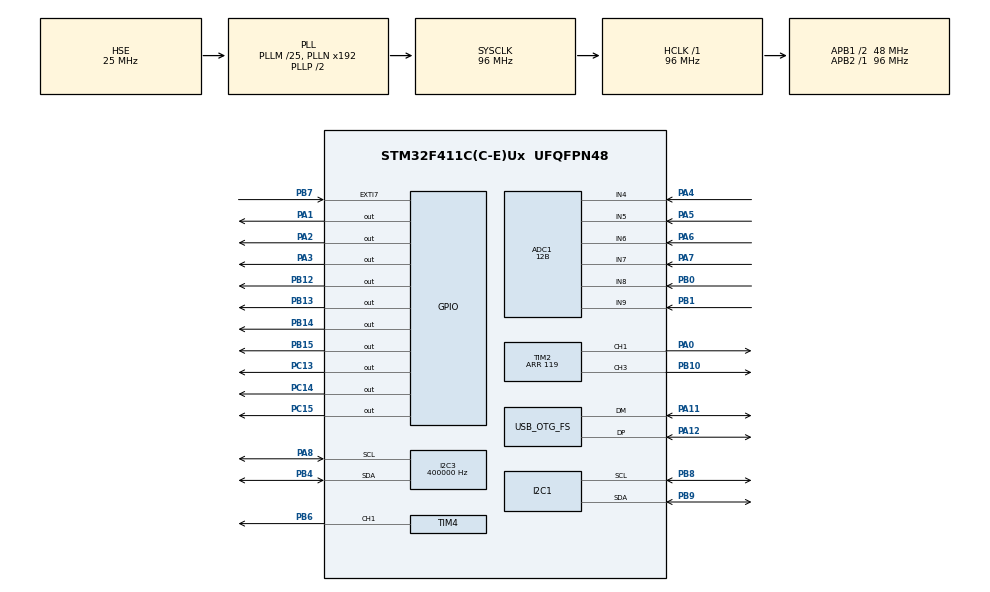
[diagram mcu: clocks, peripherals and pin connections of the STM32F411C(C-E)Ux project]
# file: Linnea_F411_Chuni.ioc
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ADC1.Channel-0\#ChannelRegularConversion=ADC_CHANNEL_5
ADC1.Channel-13\#ChannelRegularConversion=ADC_CHANNEL_6
ADC1.Channel-14\#ChannelRegularConversion=ADC_CHANNEL_7
ADC1.Channel-15\#ChannelRegularConversion=ADC_CHANNEL_8
ADC1.Channel-16\#ChannelRegularConversion=ADC_CHANNEL_9
ADC1.Channel-17\#ChannelRegularConversion=ADC_CHANNEL_4
ADC1.ContinuousConvMode=DISABLE
ADC1.DiscontinuousConvMode=ENABLE
ADC1.InjNumberOfConversion=0
ADC1.NbrOfConversion=6
ADC1.NbrOfConversionFlag=1
ADC1.NbrOfDiscConversion=1
ADC1.Rank-0\#ChannelRegularConversion=1
ADC1.Rank-13\#ChannelRegularConversion=2
ADC1.Rank-14\#ChannelRegularConversion=3
ADC1.Rank-15\#ChannelRegularConversion=4
ADC1.Rank-16\#ChannelRegularConversion=5
ADC1.Rank-17\#ChannelRegularConversion=6
ADC1.Resolution=ADC_RESOLUTION_12B
ADC1.SamplingTime-0\#ChannelRegularConversion=ADC_SAMPLETIME_56CYCLES
ADC1.SamplingTime-13\#ChannelRegularConversion=ADC_SAMPLETIME_56CYCLES
ADC1.SamplingTime-14\#ChannelRegularConversion=ADC_SAMPLETIME_56CYCLES
ADC1.SamplingTime-15\#ChannelRegularConversion=ADC_SAMPLETIME_56CYCLES
ADC1.SamplingTime-16\#ChannelRegularConversion=ADC_SAMPLETIME_56CYCLES
ADC1.SamplingTime-17\#ChannelRegularConversion=ADC_SAMPLETIME_56CYCLES
ADC1.ScanConvMode=ENABLE
ADC1.master=1
AL94.I-CUBE-USBD-COMPOSITE.1.0.3.CompositeCcUSBJjCOMPOSITEJjCDCIiACM=true
AL94.I-CUBE-USBD-COMPOSITE.1.0.3.CompositeCcUSBJjCOMPOSITEJjCOMPOSITE=true
AL94.I-CUBE-USBD-COMPOSITE.1.0.3.CompositeCcUSBJjCOMPOSITEJjCore=true
AL94.I-CUBE-USBD-COMPOSITE.1.0.3.CompositeCcUSBJjCOMPOSITEJjHIDIiKEYBOARD=true
AL94.I-CUBE-USBD-COMPOSITE.1.0.3._USBD_CDC_ACM_COUNT=1
AL94.I-CUBE-USBD-COMPOSITE.1.0.3._USBD_USE_CDC_ACM=true
AL94.I-CUBE-USBD-COMPOSITE.1.0.3._USBD_USE_HID_KEYBOARD=true
AL94.I-CUBE-USBD-COMPOSITE.1.0.3._USBD_USE_HID_MOUSE=false
Dma.I2C1_RX.2.Direction=DMA_PERIPH_TO_MEMORY
Dma.I2C1_RX.2.FIFOMode=DMA_FIFOMODE_DISABLE
Dma.I2C1_RX.2.Instance=DMA1_Stream0
Dma.I2C1_RX.2.MemDataAlignment=DMA_MDATAALIGN_BYTE
Dma.I2C1_RX.2.MemInc=DMA_MINC_ENABLE
Dma.I2C1_RX.2.Mode=DMA_CIRCULAR
Dma.I2C1_RX.2.PeriphDataAlignment=DMA_PDATAALIGN_BYTE
Dma.I2C1_RX.2.PeriphInc=DMA_PINC_DISABLE
Dma.I2C1_RX.2.Priority=DMA_PRIORITY_VERY_HIGH
Dma.I2C3_RX.3.Direction=DMA_PERIPH_TO_MEMORY
Dma.I2C3_RX.3.FIFOMode=DMA_FIFOMODE_DISABLE
Dma.I2C3_RX.3.Instance=DMA1_Stream2
Dma.I2C3_RX.3.MemDataAlignment=DMA_MDATAALIGN_BYTE
Dma.I2C3_RX.3.MemInc=DMA_MINC_ENABLE
Dma.I2C3_RX.3.Mode=DMA_CIRCULAR
Dma.I2C3_RX.3.PeriphDataAlignment=DMA_PDATAALIGN_BYTE
Dma.I2C3_RX.3.PeriphInc=DMA_PINC_DISABLE
Dma.I2C3_RX.3.Priority=DMA_PRIORITY_VERY_HIGH
Dma.MEMTOMEM.0.Direction=DMA_MEMORY_TO_MEMORY
Dma.MEMTOMEM.0.FIFOMode=DMA_FIFOMODE_ENABLE
Dma.MEMTOMEM.0.FIFOThreshold=DMA_FIFO_THRESHOLD_FULL
Dma.MEMTOMEM.0.Instance=DMA2_Stream0
Dma.MEMTOMEM.0.MemBurst=DMA_MBURST_SINGLE
Dma.MEMTOMEM.0.MemDataAlignment=DMA_MDATAALIGN_BYTE
Dma.MEMTOMEM.0.MemInc=DMA_MINC_ENABLE
Dma.MEMTOMEM.0.Mode=DMA_NORMAL
Dma.MEMTOMEM.0.PeriphBurst=DMA_PBURST_SINGLE
Dma.MEMTOMEM.0.PeriphDataAlignment=DMA_PDATAALIGN_BYTE
Dma.MEMTOMEM.0.PeriphInc=DMA_PINC_ENABLE
Dma.MEMTOMEM.0.Priority=DMA_PRIORITY_LOW
Dma.Request0=MEMTOMEM
Dma.Request1=TIM2_CH3/UP
Dma.Request2=I2C1_RX
Dma.Request3=I2C3_RX
Dma.Request4=TIM2_CH1
Dma.TIM2_CH1.4.Direction=DMA_MEMORY_TO_PERIPH
Dma.TIM2_CH1.4.FIFOMode=DMA_FIFOMODE_DISABLE
Dma.TIM2_CH1.4.Instance=DMA1_Stream5
Dma.TIM2_CH1.4.MemDataAlignment=DMA_MDATAALIGN_WORD
Dma.TIM2_CH1.4.MemInc=DMA_MINC_ENABLE
Dma.TIM2_CH1.4.Mode=DMA_NORMAL
Dma.TIM2_CH1.4.PeriphDataAlignment=DMA_PDATAALIGN_WORD
Dma.TIM2_CH1.4.PeriphInc=DMA_PINC_DISABLE
Dma.TIM2_CH1.4.Priority=DMA_PRIORITY_LOW
Dma.TIM2_CH3/UP.1.Direction=DMA_MEMORY_TO_PERIPH
Dma.TIM2_CH3/UP.1.FIFOMode=DMA_FIFOMODE_DISABLE
Dma.TIM2_CH3/UP.1.Instance=DMA1_Stream1
Dma.TIM2_CH3/UP.1.MemDataAlignment=DMA_MDATAALIGN_WORD
Dma.TIM2_CH3/UP.1.MemInc=DMA_MINC_ENABLE
Dma.TIM2_CH3/UP.1.Mode=DMA_NORMAL
Dma.TIM2_CH3/UP.1.PeriphDataAlignment=DMA_PDATAALIGN_WORD
Dma.TIM2_CH3/UP.1.PeriphInc=DMA_PINC_DISABLE
Dma.TIM2_CH3/UP.1.Priority=DMA_PRIORITY_LOW
FREERTOS.Tasks01=defaultTask,24,128,StartDefaultTask,Default,NULL,Dynamic,NULL,NULL;Task02,8,128,StartTask02,Default,NULL,Dynamic,NULL,NULL;Task03,8,128,StartTask03,Default,NULL,Dynamic,NULL,NULL;Task04,8,128,StartTask04,Default,NULL,Dynamic,NULL,NULL
FREERTOS.configGENERATE_RUN_TIME_STATS=0
FREERTOS.configTOTAL_HEAP_SIZE=15360
FREERTOS.configUSE_STATS_FORMATTING_FUNCTIONS=0
I2C1.I2C_Mode=I2C_Fast
I2C3.ClockSpeed=400000
I2C3.I2C_Mode=I2C_Fast
Mcu.Family=STM32F4
Mcu.Name=STM32F411C(C-E)Ux
Mcu.Package=UFQFPN48
NVIC.DMA1_Stream0_IRQn=true\:5\:0\:false\:false\:true\:true\:false\:true\:true
NVIC.DMA1_Stream1_IRQn=true\:5\:0\:false\:false\:true\:true\:false\:true\:true
NVIC.DMA1_Stream2_IRQn=true\:5\:0\:false\:false\:true\:true\:false\:true\:true
NVIC.DMA1_Stream5_IRQn=true\:5\:0\:false\:false\:true\:true\:false\:true\:true
NVIC.EXTI9_5_IRQn=true\:5\:0\:false\:false\:true\:true\:true\:true\:true
NVIC.I2C1_ER_IRQn=true\:5\:0\:false\:false\:true\:true\:true\:true\:true
NVIC.I2C1_EV_IRQn=true\:5\:0\:false\:false\:true\:true\:true\:true\:true
NVIC.I2C3_ER_IRQn=true\:5\:0\:false\:false\:true\:true\:true\:true\:true
NVIC.I2C3_EV_IRQn=true\:5\:0\:false\:false\:true\:true\:true\:true\:true
NVIC.OTG_FS_IRQn=true\:5\:0\:false\:false\:true\:true\:true\:true\:true
NVIC.PriorityGroup=NVIC_PRIORITYGROUP_4
NVIC.TIM1_UP_TIM10_IRQn=true\:15\:0\:false\:false\:true\:false\:false\:true\:true
NVIC.TimeBase=TIM1_UP_TIM10_IRQn
NVIC.TimeBaseIP=TIM1
PA0-WKUP.Signal=S_TIM2_CH1_ETR
PA1.Signal=GPIO_Output
PA11.Mode=Device_Only
PA11.Signal=USB_OTG_FS_DM
PA12.Mode=Device_Only
PA12.Signal=USB_OTG_FS_DP
PA2.Signal=GPIO_Output
PA3.Signal=GPIO_Output
PA4.Signal=ADCx_IN4
PA5.Signal=ADCx_IN5
PA6.Signal=ADCx_IN6
PA7.Signal=ADCx_IN7
PA8.GPIO_Pu=GPIO_PULLUP
PA8.Mode=I2C
PA8.Signal=I2C3_SCL
PB0.Signal=ADCx_IN8
PB1.Signal=ADCx_IN9
PB10.Signal=S_TIM2_CH3
PB12.Signal=GPIO_Output
PB13.Signal=GPIO_Output
PB14.Signal=GPIO_Output
PB15.Signal=GPIO_Output
PB4.GPIO_Pu=GPIO_PULLUP
PB4.Mode=I2C
PB4.Signal=I2C3_SDA
PB6.Signal=S_TIM4_CH1
PB7.GPIO_ModeDefaultEXTI=GPIO_MODE_IT_FALLING
PB7.GPIO_PuPd=GPIO_PULLUP
PB7.Signal=GPXTI7
PB8.GPIO_Pu=GPIO_PULLUP
PB8.Mode=I2C
PB8.Signal=I2C1_SCL
PB9.GPIO_Pu=GPIO_PULLUP
PB9.Mode=I2C
PB9.Signal=I2C1_SDA
PC13-ANTI_TAMP.GPIO_PuPd=GPIO_PULLUP
PC13-ANTI_TAMP.Signal=GPIO_Output
PC14-OSC32_IN.GPIO_ModeDefaultOutputPP=GPIO_MODE_OUTPUT_PP
PC14-OSC32_IN.GPIO_PuPd=GPIO_PULLUP
PC14-OSC32_IN.Signal=GPIO_Output
PC15-OSC32_OUT.GPIO_PuPd=GPIO_PULLUP
PC15-OSC32_OUT.Signal=GPIO_Output
PH0\ -\ OSC_IN.Mode=HSE-External-Oscillator
PH0\ -\ OSC_IN.Signal=RCC_OSC_IN
PH1\ -\ OSC_OUT.Mode=HSE-External-Oscillator
PH1\ -\ OSC_OUT.Signal=RCC_OSC_OUT
ProjectManager.HeapSize=0x2000
ProjectManager.StackSize=0x40000
ProjectManager.TargetToolchain=STM32CubeIDE
RCC.48MHZClocksFreq_Value=48000000
RCC.AHBFreq_Value=96000000
RCC.APB1CLKDivider=RCC_HCLK_DIV2
RCC.APB1Freq_Value=48000000
RCC.APB1TimFreq_Value=96000000
RCC.APB2Freq_Value=96000000
RCC.APB2TimFreq_Value=96000000
RCC.CortexFreq_Value=96000000
RCC.HCLKFreq_Value=96000000
RCC.HSE_VALUE=25000000
RCC.HSI_VALUE=16000000
RCC.LSE_VALUE=32768
RCC.PLLM=25
RCC.SYSCLKFreq_VALUE=96000000
RCC.SYSCLKSource=RCC_SYSCLKSOURCE_PLLCLK
RCC.VCOOutputFreq_Value=192000000
SH.ADCx_IN4.0=ADC1_IN4,IN4
SH.ADCx_IN5.0=ADC1_IN5,IN5
SH.ADCx_IN6.0=ADC1_IN6,IN6
SH.ADCx_IN7.0=ADC1_IN7,IN7
SH.ADCx_IN8.0=ADC1_IN8,IN8
SH.ADCx_IN9.0=ADC1_IN9,IN9
SH.S_TIM2_CH1_ETR.0=TIM2_CH1,PWM Generation1 CH1
SH.S_TIM2_CH3.0=TIM2_CH3,PWM Generation3 CH3
SH.S_TIM4_CH1.0=TIM4_CH1,PWM Generation1 CH1
TIM2.Channel-PWM\ Generation1\ CH1=TIM_CHANNEL_1
TIM2.Channel-PWM\ Generation3\ CH3=TIM_CHANNEL_3
TIM2.Period=119
TIM4.Channel-PWM\ Generation1\ CH1=TIM_CHANNEL_1
TIM4.Prescaler=95
USB_OTG_FS.VirtualMode=Device_Only
VP_AL94.I-CUBE-USBD-COMPOSITE_VS_USBJjComposite_1.0.0_1.0.3.Mode=USBJjComposite
VP_FREERTOS_VS_CMSIS_V2.Mode=CMSIS_V2
VP_SYS_VS_tim1.Mode=TIM1
board=custom

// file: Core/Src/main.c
/* USER CODE BEGIN Header */
/**
  ******************************************************************************
  * @file           : main.c
  * @brief          : Main program body
  ******************************************************************************
  * @attention
  *
  * Copyright (c) 2023 STMicroelectronics.
  * All rights reserved.
  *
  * This software is licensed under terms that can be found in the LICENSE file
  * in the root directory of this software component.
  * If no LICENSE file comes with this software, it is provided AS-IS.
  *
  ******************************************************************************
  */
/* USER CODE END Header */
#include "main.h"
#include "cmsis_os.h"
#include "adc.h"
#include "dma.h"
#include "i2c.h"
#include "tim.h"
#include "usb_otg.h"
#include "gpio.h"

/* USER CODE BEGIN Includes */
#include "usbd_cdc_acm_if.h"
/* USER CODE END Includes */

void SystemClock_Config(void);
void MX_FREERTOS_Init(void);
/* USER CODE BEGIN PFP */
//void HAL_GPIO_EXTI_Callback(uint16_t GPIO_Pin)
//{
//	if (GPIO_Pin == GPIO_PIN_7)
//	{
//		if (HAL_I2C_Master_Receive(&hi2c1, 0xCA,touchdata1,2,100) == HAL_OK)
		//(HAL_I2C_Master_Transmit(&hi2c1,0x5B,1,1,100) == HAL_OK)
//		{
//			//usb_buffer[0] = touchdata1[0];
//			usb_buffer[0] = 1;

//		}
//		else
//		{
//			usb_buffer[0] = 2;
//		}
//		__HAL_GPIO_EXTI_CLEAR_IT(GPIO_PIN_7);
//	}
//	else if (GPIO_Pin == GPIO_PIN_15)
//	{
//		if (HAL_I2C_Master_Receive(&hi2c3, 0xCA,touchdata2,2,100) == HAL_OK)
//		{
//			//usb_buffer[0] = touchdata1[0];
//			usb_buffer[1] = 1;

//		}
//		else
//		{
//			usb_buffer[1] = 2;
//		}
//		__HAL_GPIO_EXTI_CLEAR_IT(GPIO_PIN_15);
//	}
//}
/* USER CODE END PFP */

int main(void)
{

  /* MCU Configuration--------------------------------------------------------*/

  /* Reset of all peripherals, Initializes the Flash interface and the Systick. */
  HAL_Init();

  /* Configure the system clock */
  SystemClock_Config();

  /* USER CODE BEGIN SysInit */
 __HAL_RCC_LSE_CONFIG(RCC_LSE_OFF);
  /* USER CODE END SysInit */

  /* Initialize all configured peripherals */
  MX_GPIO_Init();
  MX_DMA_Init();
  MX_I2C1_Init();
  MX_I2C3_Init();
  MX_USB_OTG_FS_PCD_Init();
  MX_ADC1_Init();
  MX_TIM2_Init();
  MX_TIM4_Init();
  /* USER CODE BEGIN 2 */
  MX_USB_DEVICE_Init();
  //HAL_ADCEx_Calibration_Start(&hadc1);
  //HAL_GPIO_WritePin(GPIOC,GPIO_PIN_13,1);
  //HAL_TIM_Base_Start_IT(&htim5);
  /* USER CODE END 2 */

  /* Init scheduler */
  osKernelInitialize();  /* Call init function for freertos objects (in freertos.c) */
  MX_FREERTOS_Init();

  /* Start scheduler */
  osKernelStart();
  /* We should never get here as control is now taken by the scheduler */
  /* Infinite loop */
  while (1)
  {

  }
}

void SystemClock_Config(void)
{
  RCC_OscInitTypeDef RCC_OscInitStruct = {0};
  RCC_ClkInitTypeDef RCC_ClkInitStruct = {0};

  /** Configure the main internal regulator output voltage
  */
  __HAL_RCC_PWR_CLK_ENABLE();
  __HAL_PWR_VOLTAGESCALING_CONFIG(PWR_REGULATOR_VOLTAGE_SCALE1);

  /** Initializes the RCC Oscillators according to the specified parameters
  * in the RCC_OscInitTypeDef structure.
  */
  RCC_OscInitStruct.OscillatorType = RCC_OSCILLATORTYPE_HSE;
  RCC_OscInitStruct.HSEState = RCC_HSE_ON;
  RCC_OscInitStruct.PLL.PLLState = RCC_PLL_ON;
  RCC_OscInitStruct.PLL.PLLSource = RCC_PLLSOURCE_HSE;
  RCC_OscInitStruct.PLL.PLLM = 25;
  RCC_OscInitStruct.PLL.PLLN = 192;
  RCC_OscInitStruct.PLL.PLLP = RCC_PLLP_DIV2;
  RCC_OscInitStruct.PLL.PLLQ = 4;
  if (HAL_RCC_OscConfig(&RCC_OscInitStruct) != HAL_OK)
  {
    Error_Handler();
  }

  /** Initializes the CPU, AHB and APB buses clocks
  */
  RCC_ClkInitStruct.ClockType = RCC_CLOCKTYPE_HCLK|RCC_CLOCKTYPE_SYSCLK
                              |RCC_CLOCKTYPE_PCLK1|RCC_CLOCKTYPE_PCLK2;
  RCC_ClkInitStruct.SYSCLKSource = RCC_SYSCLKSOURCE_PLLCLK;
  RCC_ClkInitStruct.AHBCLKDivider = RCC_SYSCLK_DIV1;
  RCC_ClkInitStruct.APB1CLKDivider = RCC_HCLK_DIV2;
  RCC_ClkInitStruct.APB2CLKDivider = RCC_HCLK_DIV1;

  if (HAL_RCC_ClockConfig(&RCC_ClkInitStruct, FLASH_LATENCY_3) != HAL_OK)
  {
    Error_Handler();
  }
}

void HAL_TIM_PeriodElapsedCallback(TIM_HandleTypeDef *htim)
{
  if (htim->Instance == TIM1) {
    HAL_IncTick();
  }
}

void Error_Handler(void)
{
  __disable_irq();
  while (1)
  {
  }
}

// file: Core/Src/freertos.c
/* USER CODE BEGIN Header */
/**
  ******************************************************************************
  * File Name          : freertos.c
  * Description        : Code for freertos applications
  ******************************************************************************
  * @attention
  *
  * Copyright (c) 2023 STMicroelectronics.
  * All rights reserved.
  *
  * This software is licensed under terms that can be found in the LICENSE file
  * in the root directory of this software component.
  * If no LICENSE file comes with this software, it is provided AS-IS.
  *
  ******************************************************************************
  */
/* USER CODE END Header */

#include "FreeRTOS.h"
#include "task.h"
#include "main.h"
#include "cmsis_os.h"

/* USER CODE BEGIN Includes */
#include "adc.h"
#include "usb_otg.h"
#include "usb_device.h"
#include "cy8cmbr3116.h"
#include "serial.h"
#include "slider.h"
#include "dma.h"
#include "tim.h"
#include "LED.h"
#include "usbd_cdc_acm_if.h"
#include "usbd_hid_keyboard.h"
/* USER CODE END Includes */

/* USER CODE BEGIN Variables */
	//volatile unsigned long  ulHighFrequencyTimerTicks = 0ul;
	extern USBD_HandleTypeDef hUsbDevice;
	uint8_t rxData[255] = {0} ;
	uint32_t rxLen  = 0 ;
	uint8_t rxData2[254];
	uint32_t rxLen2;
	uint8_t Air_key_buffer = 0;
	uint8_t Air_scan_flag = 0;
	uint8_t Air_CMD[5] = {0xff,0x05,0x01,0x00,0x00};
	uint16_t led_count = 65535;
	//LED状�?�计数，每个刷灯周期-1
	uint8_t system_status = 0;
	//system_status:
	//0:ground-keyboard air-none
	//1:ground-usbcdc air-keyboard
	//2:ground-usbcdc air-usbcdc
	uint8_t slider_status = 0;
	//0:游戏�?
	//1:游戏�?
	uint8_t groundslider_keycode[32] = {4,5,6,7,8,9,10,11,12,13,14,15,16,17,18,19,20,21,22,23,24,25,26,27,28,29,30,31,32,33,34,35};
	uint8_t ir_keycode[6] = {56,55,49,51,48,47};
	uint8_t key_buffer[42] = {0};
/* USER CODE END Variables */
/* Definitions for defaultTask */
osThreadId_t defaultTaskHandle;
const osThreadAttr_t defaultTask_attributes = {
  .name = "defaultTask",
  .stack_size = 128 * 4,
  .priority = (osPriority_t) osPriorityNormal,
};
/* Definitions for Task02 */
osThreadId_t Task02Handle;
const osThreadAttr_t Task02_attributes = {
  .name = "Task02",
  .stack_size = 128 * 4,
  .priority = (osPriority_t) osPriorityLow,
};
/* Definitions for Task03 */
osThreadId_t Task03Handle;
const osThreadAttr_t Task03_attributes = {
  .name = "Task03",
  .stack_size = 128 * 4,
  .priority = (osPriority_t) osPriorityLow,
};
/* Definitions for Task04 */
osThreadId_t Task04Handle;
const osThreadAttr_t Task04_attributes = {
  .name = "Task04",
  .stack_size = 128 * 4,
  .priority = (osPriority_t) osPriorityLow,
};

/* USER CODE BEGIN FunctionPrototypes */
void  delay_us(uint16_t us)
{
	__HAL_TIM_SetCounter(&htim4,0);
	__HAL_TIM_ENABLE(&htim4);

	while(__HAL_TIM_GetCounter(&htim4)<us);

	__HAL_TIM_DISABLE(&htim4);
}
uint8_t find_value(int8_t position){
	if((position < 0) && (position > 32)){
		return 0;
	}else{
		return key_status[position];
	}
}
/* USER CODE END FunctionPrototypes */

void StartDefaultTask(void *argument);
void StartTask02(void *argument);
void StartTask03(void *argument);
void StartTask04(void *argument);

void MX_FREERTOS_Init(void); /* (MISRA C 2004 rule 8.1) */

void MX_FREERTOS_Init(void) {

  /* Create the thread(s) */
  /* creation of defaultTask */
  defaultTaskHandle = osThreadNew(StartDefaultTask, NULL, &defaultTask_attributes);

  /* creation of Task02 */
  Task02Handle = osThreadNew(StartTask02, NULL, &Task02_attributes);

  /* creation of Task03 */
  Task03Handle = osThreadNew(StartTask03, NULL, &Task03_attributes);

  /* creation of Task04 */
  Task04Handle = osThreadNew(StartTask04, NULL, &Task04_attributes);

}

void StartDefaultTask(void *argument)
{
  /* USER CODE BEGIN StartDefaultTask */
  /* Infinite loop */
	//osDelay(20);
	Sensor_Cfg(&hi2c1);
	Sensor_Cfg(&hi2c3);
	uint8_t slider_key_tx_buf2[38] = {0xFF,0x01,0x21,0x00,0x00 ,0x00 ,0x00 ,0x00 ,0x00 ,0x00
			,0x00 ,0x00 ,0x00 ,0x00 ,0x00 ,0x00 ,0x00 ,0x00 ,0x00 ,0x00
			,0x00,0x00 ,0x00 ,0x00 ,0x00 ,0x00 ,0x00 ,0x00 ,0x00 ,0x00 ,0x00 ,0x00 ,0x00 ,0x00 ,0x00 ,0x00 ,0xE0 ,0x00};
	uint8_t Last_raw_key_value[32] = {0};
  while(1)
  {
	osDelay(17);
	uint8_t chksum = 0xff+0x01+0x20;
	key_scan();
	if(!slider_status){
		for(uint8_t i = 0 ;i<32;i++)
		{
			//对中央接缝处4个按键做防误触发滤波。误触发的表现是突然�???0跳变�???255且不持续，只能读到一次�??
			if(((i == 0) || (i == 1) || (i == 20) || (i == 21)))
			{
	//			if((Last_raw_key_value[i] == 0) && (key_status[i] == 0xff)){
	//				Last_raw_key_value[i] = 0xff;
	//				key_status[i] = 0;
	//			}
				if((Last_raw_key_value[i] == 0) && key_status[i]){
					if(!(find_value(i+2) || find_value(i-2) || find_value(i+3)|| find_value(i+1)|| find_value(i-1))){
						Last_raw_key_value[i] = key_status[i];
						key_status[i] = 0;
					}
				}else{
					Last_raw_key_value[i] = key_status[i];
				}
			}
		}
	}
	for(uint8_t i = 0 ;i<32;i++)
	{
		//接缝触发优化。有且仅有相邻两个按键被触发时增加信号强�?
		uint8_t ret = 0;
		if((key_status[i] > 0) && (key_status[i] < 200)){
			if((find_value(i+2)) && (!find_value(i+3))){
				ret ++;
			}
			if((find_value(i-2)) && (!find_value(i-3))){
				ret ++;
			}
			if(ret == 1){
				key_status[i] = 254;
			}
		}
	}
	for(uint8_t i = 0 ;i<16;i++)
	{
		//双排键触发优化�?�下排按键触发时减弱上排按键的读数，避免吃叠键�??
		if((key_status[2*i] > 74) && (key_status[2*i+1] > 74)){
			if(key_status[2*i] > key_status[2*i+1]){
				key_status[2*i+1] -= 60;
			}
		}
	}
	for(uint8_t i = 0 ;i<32;i++)
	{
		//阈�?�重映射，取64~192区间数�?�乘2得到新的0~255区间，小�?64全部�?0，大�?192全部�?255
		if(key_status[i] < 64){
			key_status[i] = 0;
		}else if(key_status[i] >192){
			key_status[i] = 0xfe;
		}else{
			key_status[i] = (key_status[i] - 64) * 2;
		}
		//0xFD�?0xFF替换�?0xFE,避免转义
		if(key_status[i] == 0xfd && key_status[i] == 0xff)
		{
			key_status[i] = 0xfe;
		}
		chksum += key_status[i];
	}
	slider_key_tx_buf2[35] = Air_key_buffer;
	chksum += Air_key_buffer;
	for(uint8_t i = 0 ;i<32;i++)
	{
		slider_key_tx_buf2[i+3] = key_status[key_sheet[i]];
	}
	slider_key_tx_buf2[36] = 0-chksum;
	if(slider_key_tx_buf2[36] == 0xff)
	{
		slider_key_tx_buf2[36] = 0xfd;
		slider_key_tx_buf2[37] = 0xfe;
	}
	uint8_t CDC_Trans_Buffer[42];
	if(system_status && slider_scan_flag){
		memcpy(CDC_Trans_Buffer,slider_key_tx_buf2, 38);
		//memcpy(CDC_Trans_Buffer+37,Air_CMD, 5);
		CDC_Transmit(0, CDC_Trans_Buffer, 38);
	}
//	else if(system_status == 1 && slider_scan_flag == 1){
//		memcpy(CDC_Trans_Buffer,slider_key_tx_buf2, 37);
//		memset(key_buffer,0,42);
//		for(uint8_t i = 0 ;i<6;i++){
//			key_buffer[i+2] = (Air_key_buffer & (1<<i)) ? ir_keycode[i] : 0;
//		}
//		CDC_Transmit(0, CDC_Trans_Buffer, 37);
//		USBD_HID_Keybaord_SendReport(&hUsbDevice, key_buffer, 42);
//  	  }
	else if(system_status == 0){
		memset(key_buffer,0,42);
		for(uint8_t i = 0 ;i<32;i++){
			key_buffer[i+2] = key_status[key_sheet[i]] > 128 ? groundslider_keycode[i] : 0;
		}
		USBD_HID_Keybaord_SendReport(&hUsbDevice, key_buffer, 42);
	}
  }
  /* USER CODE END StartDefaultTask */
}

void StartTask02(void *argument)
{
  /* USER CODE BEGIN StartTask02 */
	osDelay(200);
	uint16_t adcValue[6][6] = {0};
	uint16_t last_mean_adcValue[6] = {0};
//	uint32_t slope_threshold = 150;
	uint16_t slope_slide_threshold[6] = {0};
	uint16_t value_threshold[6] = {0};
	int slope[6] = {0};
	uint8_t slow_slope_flag[6] = {0};
//	int Last_slope[6] = {0};
	uint16_t mean_value[6] = {0};
	uint16_t history_mean_value[6] = {0};
	uint16_t min_value[6] = {65535};
	uint16_t max_value[6] = {0};
	int slope_accumulator[6] = {0};
	int slope_accumulator_n[6] = {0};
	for(uint8_t j=0;j<5;j++){
		for (uint8_t i = 0; i < 6; i++){
			//�????????74hc238写入3bit选择点亮哪一颗灯
			HAL_GPIO_WritePin(GPIOB,GPIO_PIN_15,(i&0b00000001)? 1 : 0);
			HAL_GPIO_WritePin(GPIOB,GPIO_PIN_14,(i&0b00000010)? 1 : 0);
			HAL_GPIO_WritePin(GPIOB,GPIO_PIN_13,(i&0b00000100)? 1 : 0);
			//stm32的ADC会自动循�???????
			delay_us(100);
			HAL_ADC_Start(&hadc1);
			HAL_ADC_PollForConversion(&hadc1, 1);
			adcValue[i][j] = HAL_ADC_GetValue(&hadc1);
		}
		//osDelay(10);
	}
//	for(uint8_t j=0;j<3;j++){
//		for (uint8_t i = 0; i < 6; i++){
//			HAL_GPIO_WritePin(GPIOB,GPIO_PIN_15,((i+1)&0b00000001)? 1 : 0);
//			HAL_GPIO_WritePin(GPIOB,GPIO_PIN_14,((i+1)&0b00000010)? 1 : 0);
//			HAL_GPIO_WritePin(GPIOB,GPIO_PIN_13,((i+1)&0b00000100)? 1 : 0);
//			delay_us(100);
//			HAL_ADC_Start(&hadc1);
//			HAL_ADC_PollForConversion(&hadc1, 1);
//			adcValue[i][j] = HAL_ADC_GetValue(&hadc1);
//		}
//		osDelay(10);
//	}
//	for(uint8_t i = 0;i < 6;i++){
//		mean_value[i] = adcValue[i][0]/3 + adcValue[i][1]/3 + adcValue[i][2]/3;
//		if(min_value[i] > mean_value[i]){
//			min_value[i] = mean_value[i];
//		}
//		if(max_value[i] < mean_value[i]){
//			max_value[i] = mean_value[i];
//		}
//	}
  while(1)
  {
	  //memset(&adcValue[0][0],0,36);
	  //for(uint8_t k =0;k<3;k++){
		  for(uint8_t j = 0;j<3;j++){
				for (uint8_t i = 0; i < 6; i++){
					//�????????74hc238写入3bit选择点亮哪一颗灯
					HAL_GPIO_WritePin(GPIOB,GPIO_PIN_15,(i&0b00000001)? 1 : 0);
					HAL_GPIO_WritePin(GPIOB,GPIO_PIN_14,(i&0b00000010)? 1 : 0);
					HAL_GPIO_WritePin(GPIOB,GPIO_PIN_13,(i&0b00000100)? 1 : 0);
					//stm32的ADC会自动循�???????
					delay_us(100);
					HAL_ADC_Start(&hadc1);
					HAL_ADC_PollForConversion(&hadc1, 1);
					adcValue[i][j*2] = HAL_ADC_GetValue(&hadc1)+i*10+10;
				}
				for (uint8_t i = 0; i < 6; i++){
					HAL_GPIO_WritePin(GPIOB,GPIO_PIN_15,(((i+1) < 6 ? (i+1) : 0) &0b00000001)? 1 : 0);
					HAL_GPIO_WritePin(GPIOB,GPIO_PIN_14,(((i+1) < 6 ? (i+1) : 0) &0b00000010)? 1 : 0);
					HAL_GPIO_WritePin(GPIOB,GPIO_PIN_13,(((i+1) < 6 ? (i+1) : 0) &0b00000100)? 1 : 0);
					delay_us(10);
					HAL_GPIO_WritePin(GPIOB,GPIO_PIN_15,1);
					HAL_GPIO_WritePin(GPIOB,GPIO_PIN_14,1);
					HAL_GPIO_WritePin(GPIOB,GPIO_PIN_13,1);
					delay_us(100);
					HAL_ADC_Start(&hadc1);
					HAL_ADC_PollForConversion(&hadc1, 1);
					adcValue[i][j*2+1] = HAL_ADC_GetValue(&hadc1);
				}
		  }
	  //}
	  for(uint8_t i =0;i<6;i++){
		  if((adcValue[i][0] < adcValue[i][1]) && (adcValue[i][2] < adcValue[i][3]) && (adcValue[i][4] < adcValue[i][5])){
			  Air_key_buffer = Air_key_buffer & ~(1 << i);
		  }else{
			  Air_key_buffer = Air_key_buffer | (1 << i);
		  }
	  }

//	for(uint8_t j = 0; j < 5;j++){
//		delay_us(100);
//		for (uint8_t i = 0; i < 6; i++){
//			HAL_GPIO_WritePin(GPIOB,GPIO_PIN_15,(i&0b00000001)? 1 : 0);
//			HAL_GPIO_WritePin(GPIOB,GPIO_PIN_14,(i&0b00000010)? 1 : 0);
//			HAL_GPIO_WritePin(GPIOB,GPIO_PIN_13,(i&0b00000100)? 1 : 0);
//			//last_adcValue[i] = adcValue[i];
//			delay_us(100);
//			HAL_ADC_Start(&hadc1);
//			HAL_ADC_PollForConversion(&hadc1, 1);
//			adcValue[i][j] = HAL_ADC_GetValue(&hadc1);
//		}
//	}
//	for(uint8_t i = 0;i < 6;i++){
////		last_mean_adcValue[i] = mean_value[i];
//		mean_value[i] = adcValue[i][0]/5 + adcValue[i][1]/5 + adcValue[i][2]/5 + adcValue[i][3]/5 + adcValue[i][4]/5;
//		if(mean_value[i] > (history_mean_value[i] + 350)){
//			Air_key_buffer = Air_key_buffer | (1 << i);
//		}else if(mean_value[i] < (history_mean_value[i] - 100)){
//			Air_key_buffer = Air_key_buffer & ~(1 << i);
//			history_mean_value[i] = mean_value[i];
//		}else{
//			Air_key_buffer = Air_key_buffer & ~(1 << i);
//			history_mean_value[i] = history_mean_value[i]/2 + mean_value[i]/2;
//		}
//	}

//		if(min_value[i] > mean_value[i]){
//			min_value[i] = mean_value[i];
//		}
//		if(max_value[i] < mean_value[i]){
//			max_value[i] = mean_value[i];
//		}
////		if(i == 5){
////			uint8_t adc_char[10] = {0};
////			sprintf((char *)adc_char,"%ld\n",adcValue[i]);
////			uint8_t len_adc = strlen(adc_char);
////			CDC_Transmit(0,adc_char,len_adc);
////		}
//		slope_slide_threshold[i] = (max_value[i] - min_value[i])/4;
//		value_threshold[i] = (max_value[i] - min_value[i])/7;
//		slope[i] = mean_value[i] - last_mean_adcValue[i];
////		if(slope[i] > 0){
//			slope_accumulator[i] += slope[i];
////		}else{
////			slope_accumulator_n[i] += slope[i];
////		}
//
//		if(slope[i] < 50 && slope[i] > -50){
//			slow_slope_flag[i]++;
//		}else{
//			slow_slope_flag[i] = 0;
//		}
//		if(slow_slope_flag[i] > 10){
//			//波形放缓，清空累积器
//			slow_slope_flag[i] = 0;
//			slope_accumulator[i] = 0;
//			if(slope_accumulator[i] > 0){
//				Air_key_buffer = Air_key_buffer | (1 << i);
//			}else if(slope_accumulator[i] < 0){
//				Air_key_buffer = Air_key_buffer & ~(1 << i);
//			}
//			continue;
//			//slope_accumulator_n[i] = 0;
//		}
//
//	//		if(slope_accumulator[i] > 0 && slope[i] <= 0){
//	//			slope_accumulator[i] = slope[i];
//	//		}else if(slope_accumulator[i] < 0 && slope[i] >= 0){
//	//			slope_accumulator[i] = slope[i];
//	//		}
//		if((mean_value[i] > (max_value[i] - value_threshold[i])) || (mean_value[i] < (min_value[i] + value_threshold[i]))){
//			//回到�?大或�?小�?�界限内，清空累积器
//			slope_accumulator[i] = 0;
//			//slope_accumulator_n[i] = 0;
//		}
//		if((slope_accumulator[i] > slope_slide_threshold[i]) || (mean_value[i] > max_value[i] - value_threshold[i])){
//			Air_key_buffer = Air_key_buffer | (1 << i);
//
//		}
//		if((slope_accumulator[i] < (0 - slope_slide_threshold[i])) || (mean_value[i] < min_value[i] + value_threshold[i])){
//			Air_key_buffer = Air_key_buffer & ~(1 << i);
//		}
////		if((slope_accumulator_p[i] > slope_slide_threshold[i])){
////			Air_key_buffer = Air_key_buffer | (1 << i);
////
////		}
////		if((slope_accumulator_n[i] < (0 - slope_slide_threshold[i]))){
////			Air_key_buffer = Air_key_buffer & ~(1 << i);
////		}
//	}

	//指令打包
	Air_CMD[3] = Air_key_buffer;
	Air_CMD[4] = 0 - (Air_key_buffer + 0xff + 0x05 + 0x01);
	//CDC_Transmit(0, Air_CMD, 5);
	osDelay(5);
  }
  /* USER CODE END StartTask02 */
}

void StartTask03(void *argument)
{
  /* USER CODE BEGIN StartTask03 */
  /* Infinite loop */
//	uint8_t led_flag = 0;
//	uint8_t led_flag_len = 0;
  for(;;)
  {
	osDelay(5);
	if (rxLen != 0){
		if(rxData[0] == 0xFF){
			switch (rxData[1]){
				case 0xf0:
					slider_get_board_info();
					break;
				case 0x03:
					slider_scan_flag = 1;
					HAL_GPIO_WritePin(GPIOC,GPIO_PIN_13,0);
					break;
				case 0x04:
					slider_scan_flag = 2;
					CDC_Transmit(0, slider_scan_stop_cmd, 5);
					HAL_GPIO_WritePin(GPIOC,GPIO_PIN_13,1);
					break;
				case 0x10:
					CDC_Transmit(0, slider_rst, 4);
					break;
				case 0x01:
					slider_scan_flag = 1;
					HAL_GPIO_WritePin(GPIOC,GPIO_PIN_13,0);
					break;
				case 0x02:
					memcpy(RGB_data_raw,rxData,rxLen);
					break;
				case 0x06:
					Air_scan_flag = 1;
					break;
//				case 0x07:
//					Air_scan_flag = 0;
//					break;
				default:
					break;
			}
    	}
		led_count = 1024;
		rxLen = 0;
		if(Air_scan_flag){
			system_status = 2;
		}else if(slider_scan_flag){
			system_status = 1;
		}
	  }
	}
  /* USER CODE END StartTask03 */
}

void StartTask04(void *argument)
{
  /* USER CODE BEGIN StartTask04 */
	//pwm计数�???????120重载，设置为120即一直低电平，设置为90表示ws2812的高，设置为30表示ws2812的低
	//ws2812传输数据顺序要求是GRB,游戏下发数据为RGB,�???????要对调顺�???????
	RGB_data_DMA_buffer[969] = 120;
	RGB_Air_DMA_buffer[591] = 120;
	for(;;){
		if(led_count == 0){
			system_status = 0;

			slider_scan_flag = 0;
			Air_scan_flag = 0;
			//减到0：没有接到指令，说明游戏已经�???出，切换到模�???0
		}else{
			led_count--;
		}
		if(system_status == 0){
			slider_status = 0;
			for(uint8_t i = 0 ;i<31;i++)
		    {
		    	for(uint8_t j = 0 ;j <8;j++)
		    	{
		    		RGB_data_DMA_buffer[(i*3)*8+j+224] = 30;
		    	}
		    	for(uint8_t j = 0 ;j <8;j++)
		    	{
		    		RGB_data_DMA_buffer[(i*3+1)*8+j+224] = 30;
		    	}
		    	for(uint8_t j = 0 ;j <8;j++)
		    	{
		    		RGB_data_DMA_buffer[(i*3+2)*8+j+224] = 90;
		    	}
		    }
			for(uint8_t i = 0 ;i<16;i++)
		    {
		    	for(uint8_t j = 0 ;j <8;j++)
		    	{
		    		RGB_data_DMA_buffer[(i*6+1)*8+j+224] = ((key_status[key_sheet[2*i]] > 128)|(key_status[key_sheet[2*i+1]] > 128)) ? 90:30;
		    	}
		    }

		}else{
			if(RGB_data_raw[0] && !RGB_data_raw[1] && !RGB_data_raw[2]){
				//red,exit
				slider_status = 0;
			}else if(RGB_data_raw[0] && RGB_data_raw[1] && !RGB_data_raw[2]){
				//yellow,enter
				slider_status = 1;
			}
			for(uint8_t i = 0 ;i<31;i++)
		    {
		    	for(uint8_t j = 0 ;j <8;j++)
		    	{
		    		RGB_data_DMA_buffer[(i*3)*8+j+224] = (gamma8[RGB_data_raw[4+i*3+2]] & (1<<j)) ? 90:30;
		    	}
		    	for(uint8_t j = 0 ;j <8;j++)
		    	{
		    		RGB_data_DMA_buffer[(i*3+1)*8+j+224] = (gamma8[RGB_data_raw[4+i*3+1]] & (1<<j)) ? 90:30;
		    	}
		    	for(uint8_t j = 0 ;j <8;j++)
		    	{
		    		RGB_data_DMA_buffer[(i*3+2)*8+j+224] = (gamma8[RGB_data_raw[4+i*3]] & (1<<j)) ? 90:30;
		    	}
		    }
		}
	    for(uint8_t i = 0 ;i<6;i++)
	    {
	    	if(Air_key_buffer & (1<<i)){
	    		for(uint8_t j = 0 ;j <8;j++)
	    		{
	    			RGB_Air_DMA_buffer[(i*3)*8+j+224] = 90;
	    		}
	    		for(uint8_t j = 0 ;j <8;j++)
	    		{
	    			RGB_Air_DMA_buffer[(i*3+1)*8+j+224] =90;
	    		}
	    		for(uint8_t j = 0 ;j <8;j++)
	    		{
	    			RGB_Air_DMA_buffer[(i*3+2)*8+j+224] =90;
	    		}
	    	}
	    	else{
	    		for(uint8_t j = 0 ;j <8;j++)
	    		{
	    			RGB_Air_DMA_buffer[(i*3)*8+j+224] = 30;
	    		}
	    		for(uint8_t j = 0 ;j <8;j++)
	    		{
	    			RGB_Air_DMA_buffer[(i*3+1)*8+j+224] =30;
	    		}
	    		for(uint8_t j = 0 ;j <8;j++)
	    		{
	    			RGB_Air_DMA_buffer[(i*3+2)*8+j+224] =90;
	    		}
	    	}
	    }
	    //�???????启DMA传输刷灯
		HAL_TIM_PWM_Start_DMA(&htim2, TIM_CHANNEL_1, (uint32_t *)RGB_data_DMA_buffer, 970);
		HAL_TIM_PWM_Start_DMA(&htim2, TIM_CHANNEL_3, (uint32_t *)RGB_Air_DMA_buffer, 592);
		osDelay(10);
	  }
  /* USER CODE END StartTask04 */
}
